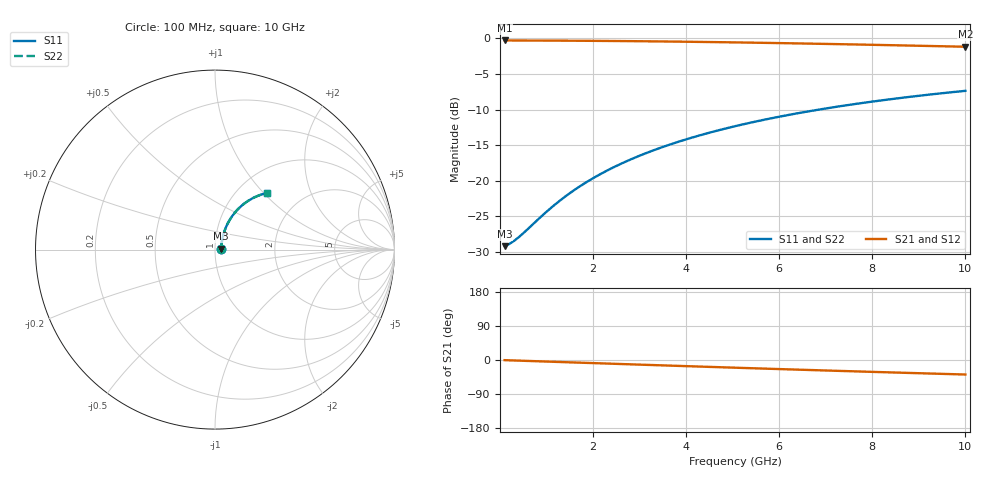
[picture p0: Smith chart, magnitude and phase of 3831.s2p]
# Hz S RI R 50.00
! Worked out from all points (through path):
!   100 points, 100 MHz to 10 GHz, reference 50 ohm
!   highest |S21| = -0.30 dB at 100 MHz (marker M1); lowest = -1.2 dB at 10 GHz (marker M2)
!   group delay of S21, straight-line fit = 10.7 ps
!   lowest |S11| = -29.2 dB at 100 MHz (marker M3), VSWR 1.07, Z = 53.6 + j0.503 ohm
!   |S11| at or under -10 dB: start of sweep to 6.859 GHz
!   |S22| runs from -29.2 to -7.4 dB; largest |S21 - S12| = 0
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1e8  0.0345 0.00469  0.9655 -0.00691  0.9655 -0.00691  0.0345 0.00469
2e8  0.0348 0.00938  0.9652 -0.0138  0.9652 -0.0138  0.0348 0.00938
3e8  0.0351 0.0141  0.9648 -0.0207  0.9648 -0.0207  0.0351 0.0141
4e8  0.0355 0.0187  0.9644 -0.0276  0.9644 -0.0276  0.0355 0.0187
9e8  0.0381 0.042  0.9616 -0.062  0.9616 -0.062  0.0381 0.042
1.2e9  0.0404 0.0558  0.9592 -0.0825  0.9592 -0.0825  0.0404 0.0558
1.5e9  0.0433 0.0695  0.9561 -0.1028  0.9561 -0.1028  0.0433 0.0695
1.8e9  0.0467 0.083  0.9525 -0.123  0.9525 -0.123  0.0467 0.083
2.1e9  0.0506 0.0963  0.9482 -0.143  0.9482 -0.143  0.0506 0.0963
2.5e9  0.0568 0.1138  0.9416 -0.1694  0.9416 -0.1694  0.0568 0.1138
2.9e9  0.0638 0.1307  0.934 -0.1953  0.934 -0.1953  0.0638 0.1307
3.4e9  0.0739 0.1512  0.9231 -0.2269  0.9231 -0.2269  0.0739 0.1512
3.8e9  0.0829 0.167  0.9134 -0.2516  0.9134 -0.2516  0.0829 0.167
4.2e9  0.0927 0.1821  0.9028 -0.2757  0.9028 -0.2757  0.0927 0.1821
4.6e9  0.1032 0.1966  0.8914 -0.2991  0.8914 -0.2991  0.1032 0.1966
5.1e9  0.1173 0.2137  0.876 -0.3274  0.876 -0.3274  0.1173 0.2137
5.9e9  0.1419 0.2385  0.8492 -0.3703  0.8492 -0.3703  0.1419 0.2385
6.7e9  0.1684 0.2602  0.82 -0.41  0.82 -0.41  0.1684 0.2602
7.5e9  0.1965 0.2787  0.789 -0.4466  0.789 -0.4466  0.1965 0.2787
8.4e9  0.2293 0.2955  0.7524 -0.4839  0.7524 -0.4839  0.2293 0.2955
9.2e9  0.2592 0.307  0.7187 -0.5137  0.7187 -0.5137  0.2592 0.307
1e10  0.2893 0.3153  0.6845 -0.5404  0.6845 -0.5404  0.2893 0.3153
